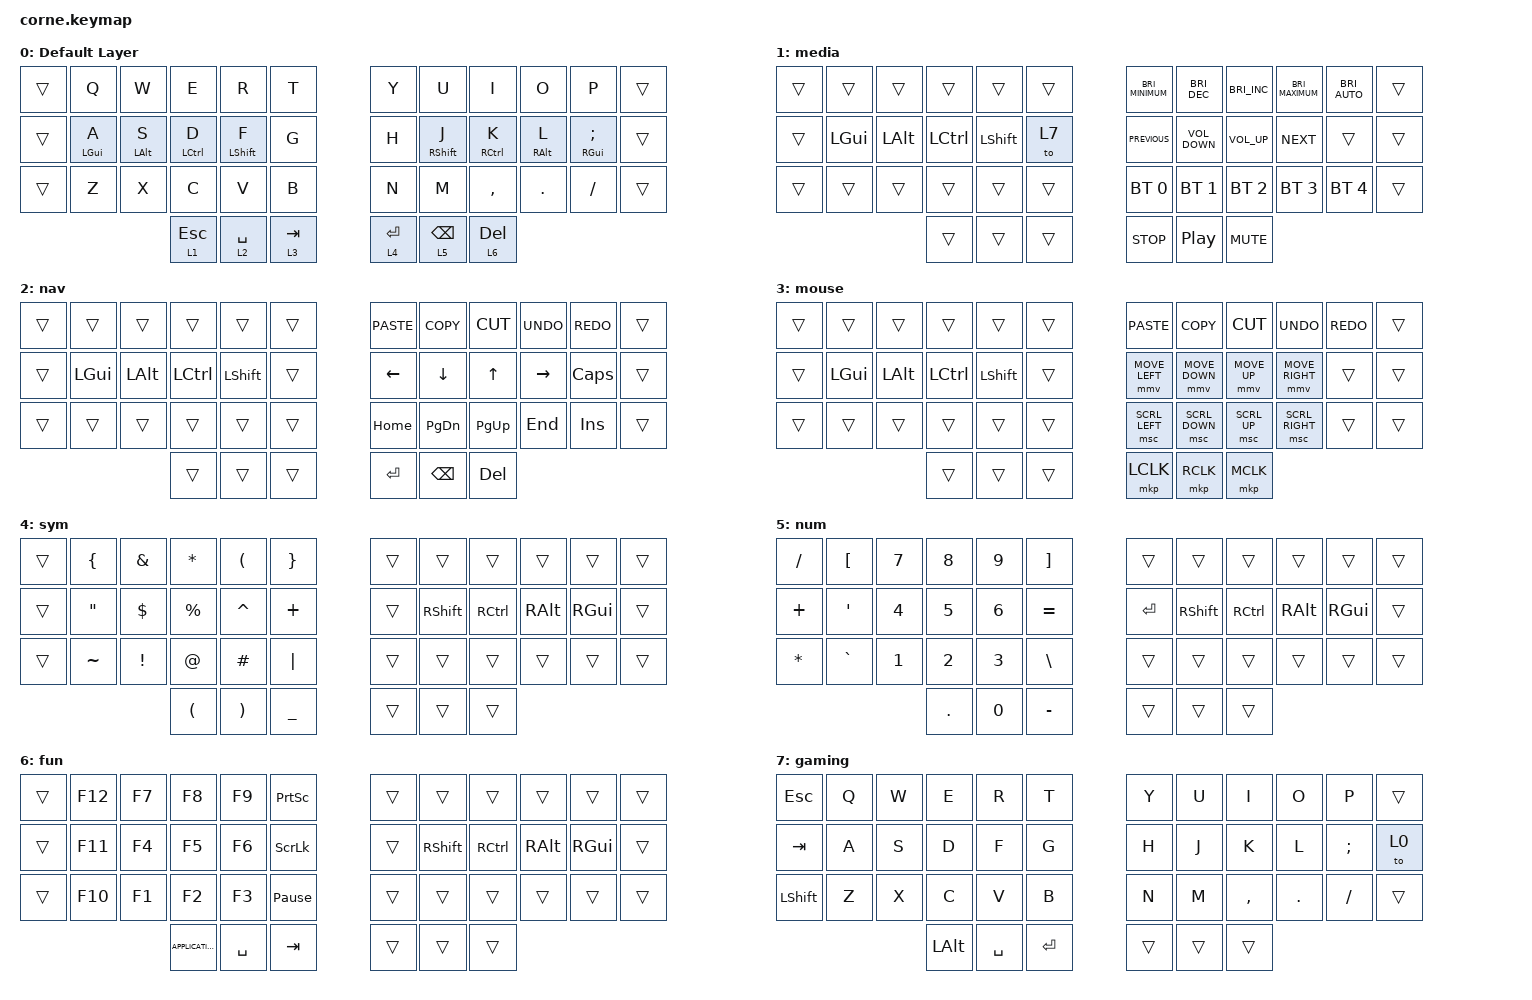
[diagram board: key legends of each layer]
/*
 * Copyright (c) 2020 The ZMK Contributors
 *
 * SPDX-License-Identifier: MIT
 */

#define ZMK_POINTING_DEFAULT_MOVE_VAL 2000  // default: 600
#define ZMK_POINTING_DEFAULT_SCRL_VAL 300    // default: 10

#include <behaviors.dtsi>
#include <dt-bindings/zmk/bt.h>
#include <dt-bindings/zmk/keys.h>
#include <dt-bindings/zmk/pointing.h>

&mt {
    flavor = "tap-preferred";
    bindings = <&kp>, <&kp>;
};

/ {
    combos {
        compatible = "zmk,combos";

        left_bracket {
            bindings = <&kp LEFT_BRACKET>;
            key-positions = <3 4>;
        };

        right_bracket {
            bindings = <&kp RIGHT_BRACKET>;
            key-positions = <7 8>;
        };

        left_parenthesis {
            bindings = <&kp LEFT_PARENTHESIS>;
            key-positions = <15 16>;
        };

        right_parenthesis {
            bindings = <&kp RIGHT_PARENTHESIS>;
            key-positions = <19 20>;
        };

        left_brace {
            bindings = <&kp LEFT_BRACE>;
            key-positions = <27 28>;
        };

        right_brace {
            bindings = <&kp RIGHT_BRACE>;
            key-positions = <31 32>;
        };

        less_than {
            bindings = <&kp LESS_THAN>;
            key-positions = <3 2>;
        };

        greater_than {
            bindings = <&kp GREATER_THAN>;
            key-positions = <8 9>;
        };

        minus {
            bindings = <&kp MINUS>;
            key-positions = <4 7>;
        };

        equal {
            bindings = <&kp EQUAL>;
            key-positions = <16 19>;
        };

        plus {
            bindings = <&kp PLUS>;
            key-positions = <28 31>;
        };

        slash {
            bindings = <&kp SLASH>;
            key-positions = <3 8>;
        };

        ampersand {
            bindings = <&kp AMPERSAND>;
            key-positions = <15 20>;
        };

        asterisk {
            bindings = <&kp ASTERISK>;
            key-positions = <27 32>;
        };

        caret {
            bindings = <&kp CARET>;
            key-positions = <5 6>;
        };

        hash {
            bindings = <&kp HASH>;
            key-positions = <17 18>;
        };

        percent {
            bindings = <&kp PERCENT>;
            key-positions = <29 30>;
        };

        dollar {
            bindings = <&kp DOLLAR>;
            key-positions = <14 21>;
        };

        exclaimation {
            bindings = <&kp EXCLAMATION>;
            key-positions = <13 22>;
        };

        single_quote {
            bindings = <&kp SINGLE_QUOTE>;
            key-positions = <14 15>;
        };

        double_quote {
            bindings = <&kp DOUBLE_QUOTES>;
            key-positions = <20 21>;
        };

        back_slash {
            bindings = <&kp BACKSLASH>;
            key-positions = <14 13>;
        };

        pipe {
            bindings = <&kp PIPE>;
            key-positions = <21 22>;
        };

        at_sgin {
            bindings = <&kp AT_SIGN>;
            key-positions = <25 34>;
        };

        underscore {
            bindings = <&kp UNDERSCORE>;
            key-positions = <26 33>;
        };

        grave {
            bindings = <&kp GRAVE>;
            key-positions = <26 27>;
        };

        tilde {
            bindings = <&kp TILDE>;
            key-positions = <32 33>;
        };
    };

    keymap {
        compatible = "zmk,keymap";

        default_layer {
            display-name = "Default Layer";

            // -----------------------------------------------------------------------------------------
            // |  TAB |  Q  |  W  |  E  |  R  |  T  |   |  Y  |  U   |  I  |  O  |  P  | BSPC |
            // | CTRL |  A  |  S  |  D  |  F  |  G  |   |  H  |  J   |  K  |  L  |  ;  |  '   |
            // | SHFT |  Z  |  X  |  C  |  V  |  B  |   |  N  |  M   |  ,  |  .  |  /  | ESC  |
            //                    | GUI | LWR | SPC |   | ENT | RSE  | ALT |

            bindings = <
&trans  &kp Q           &kp W           &kp E               &kp R             &kp T        &kp Y        &kp U              &kp I                &kp O            &kp P                    &trans
&trans  &mt LEFT_GUI A  &mt LEFT_ALT S  &mt LEFT_CONTROL D  &mt LEFT_SHIFT F  &kp G        &kp H        &mt RIGHT_SHIFT J  &mt RIGHT_CONTROL K  &mt RIGHT_ALT L  &mt RIGHT_GUI SEMICOLON  &trans
&trans  &kp Z           &kp X           &kp C               &kp V             &kp B        &kp N        &kp M              &kp COMMA            &kp DOT          &kp FSLH                 &trans
                                        &lt 1 ESCAPE        &lt 2 SPACE       &lt 3 TAB    &lt 4 ENTER  &lt 5 BACKSPACE    &lt 6 DEL
            >;
        };

        media {
            bindings = <
&trans  &trans        &trans        &trans            &trans          &trans    &kp C_BRIGHTNESS_MINIMUM  &kp C_BRIGHTNESS_DEC  &kp C_BRIGHTNESS_INC  &kp C_BRIGHTNESS_MAXIMUM  &kp C_BRIGHTNESS_AUTO  &trans
&trans  &kp LEFT_GUI  &kp LEFT_ALT  &kp LEFT_CONTROL  &kp LEFT_SHIFT  &to 7     &kp C_PREVIOUS            &kp C_VOLUME_DOWN     &kp C_VOL_UP          &kp C_NEXT                &trans                 &trans
&trans  &trans        &trans        &trans            &trans          &trans    &bt BT_SEL 0              &bt BT_SEL 1          &bt BT_SEL 2          &bt BT_SEL 3              &bt BT_SEL 4           &trans
                                    &trans            &trans          &trans    &kp C_STOP                &kp C_PLAY_PAUSE      &kp C_MUTE
            >;
        };

        nav {
            bindings = <
&trans  &trans        &trans        &trans            &trans          &trans    &kp K_PASTE     &kp K_COPY      &kp K_CUT     &kp K_UNDO       &kp K_REDO    &trans
&trans  &kp LEFT_GUI  &kp LEFT_ALT  &kp LEFT_CONTROL  &kp LEFT_SHIFT  &trans    &kp LEFT_ARROW  &kp DOWN_ARROW  &kp UP_ARROW  &kp RIGHT_ARROW  &kp CAPSLOCK  &trans
&trans  &trans        &trans        &trans            &trans          &trans    &kp HOME        &kp PAGE_DOWN   &kp PAGE_UP   &kp END          &kp INSERT    &trans
                                    &trans            &trans          &trans    &kp ENTER       &kp BACKSPACE   &kp DELETE
            >;
        };

        mouse {
            bindings = <
&trans  &trans        &trans        &trans            &trans          &trans    &kp K_PASTE     &kp K_COPY      &kp K_CUT     &kp K_UNDO       &kp K_REDO  &trans
&trans  &kp LEFT_GUI  &kp LEFT_ALT  &kp LEFT_CONTROL  &kp LEFT_SHIFT  &trans    &mmv MOVE_LEFT  &mmv MOVE_DOWN  &mmv MOVE_UP  &mmv MOVE_RIGHT  &trans      &trans
&trans  &trans        &trans        &trans            &trans          &trans    &msc SCRL_LEFT  &msc SCRL_DOWN  &msc SCRL_UP  &msc SCRL_RIGHT  &trans      &trans
                                    &trans            &trans          &trans    &mkp LCLK       &mkp RCLK       &mkp MCLK
            >;
        };

        sym {
            bindings = <
&trans  &kp LEFT_BRACE     &kp AMPERSAND    &kp ASTERISK          &kp LEFT_PARENTHESIS   &kp RIGHT_BRACE    &trans  &trans           &trans             &trans         &trans         &trans
&trans  &kp DOUBLE_QUOTES  &kp DOLLAR       &kp PERCENT           &kp CARET              &kp PLUS           &trans  &kp RIGHT_SHIFT  &kp RIGHT_CONTROL  &kp RIGHT_ALT  &kp RIGHT_GUI  &trans
&trans  &kp TILDE          &kp EXCLAMATION  &kp AT_SIGN           &kp HASH               &kp PIPE           &trans  &trans           &trans             &trans         &trans         &trans
                                            &kp LEFT_PARENTHESIS  &kp RIGHT_PARENTHESIS  &kp UNDERSCORE     &trans  &trans           &trans
            >;
        };

        num {
            bindings = <
&kp SLASH     &kp LEFT_BRACKET  &kp NUMBER_7  &kp NUMBER_8  &kp NUMBER_9  &kp RIGHT_BRACKET    &trans     &trans           &trans             &trans         &trans         &trans
&kp PLUS      &kp SINGLE_QUOTE  &kp NUMBER_4  &kp NUMBER_5  &kp NUMBER_6  &kp EQUAL            &kp ENTER  &kp RIGHT_SHIFT  &kp RIGHT_CONTROL  &kp RIGHT_ALT  &kp RIGHT_GUI  &trans
&kp ASTERISK  &kp GRAVE         &kp NUMBER_1  &kp NUMBER_2  &kp NUMBER_3  &kp BACKSLASH        &trans     &trans           &trans             &trans         &trans         &trans
                                              &kp PERIOD    &kp NUMBER_0  &kp MINUS            &trans     &trans           &trans
            >;
        };

        fun {
            bindings = <
&trans  &kp F12  &kp F7  &kp F8             &kp F9     &kp PRINTSCREEN    &trans  &trans           &trans             &trans         &trans         &trans
&trans  &kp F11  &kp F4  &kp F5             &kp F6     &kp SCROLLLOCK     &trans  &kp RIGHT_SHIFT  &kp RIGHT_CONTROL  &kp RIGHT_ALT  &kp RIGHT_GUI  &trans
&trans  &kp F10  &kp F1  &kp F2             &kp F3     &kp PAUSE_BREAK    &trans  &trans           &trans             &trans         &trans         &trans
                         &kp K_APPLICATION  &kp SPACE  &kp TAB            &trans  &trans           &trans
            >;
        };

        gaming {
            bindings = <
&kp ESC    &kp Q  &kp W  &kp E     &kp R      &kp T        &kp Y   &kp U   &kp I      &kp O    &kp P     &trans
&kp TAB    &kp A  &kp S  &kp D     &kp F      &kp G        &kp H   &kp J   &kp K      &kp L    &kp SEMI  &to 0
&kp LSHFT  &kp Z  &kp X  &kp C     &kp V      &kp B        &kp N   &kp M   &kp COMMA  &kp DOT  &kp FSLH  &trans
                         &kp LALT  &kp SPACE  &kp ENTER    &trans  &trans  &trans
            >;
        };
    };
};
